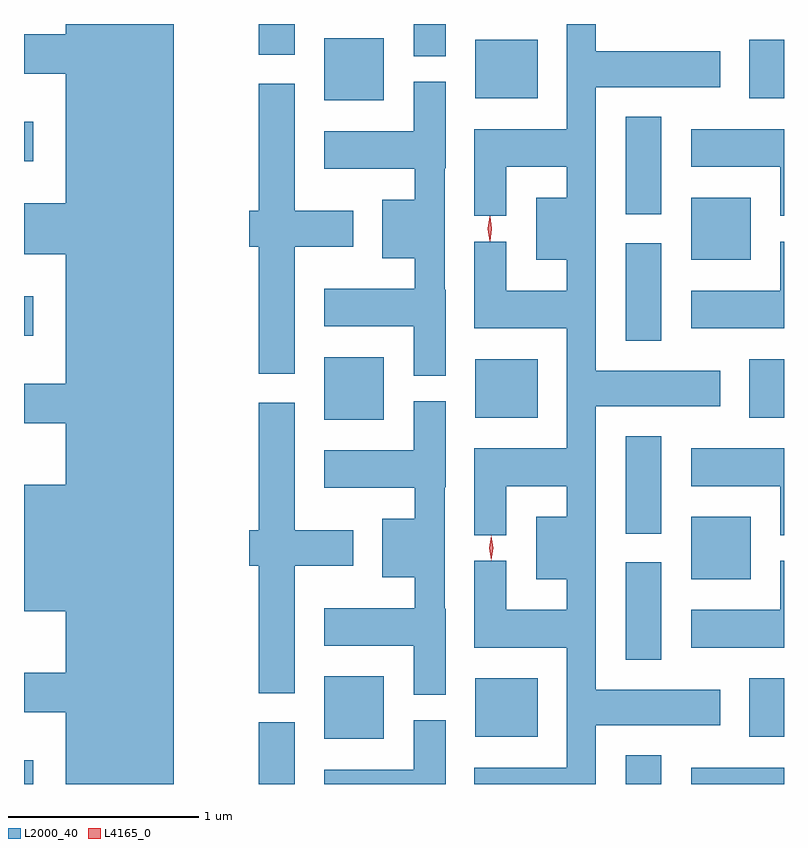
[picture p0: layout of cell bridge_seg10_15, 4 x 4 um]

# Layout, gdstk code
import gdstk
lib = gdstk.Library(unit=1e-6, precision=1e-09)
def R(c, l, rs):  # rectangles x0, y0, x1, y1
    for r in rs: c.add(gdstk.rectangle(r[:2], r[2:], *l))
def A(c, l, x, y, w, h, nx, ny, dx, dy):  # array of equal rectangles
    R(c, l, [(x+i*dx, y+j*dy, x+i*dx+w, y+j*dy+h) for i in range(nx) for j in range(ny)])
def P(c, l, *ps):  # polygons
    for p in ps: c.add(gdstk.Polygon(p, *l))
L2000_40 = (2000, 40)
L4165_0 = (4165, 0)

bridge_seg10_15 = lib.new_cell('bridge_seg10_15')
A(bridge_seg10_15, L2000_40, 1786.791, 2156.406, 0.313, 0.328, 1, 3, 0, 1.68)
A(bridge_seg10_15, L2000_40, 1787.586, 2156.416, 0.328, 0.308, 1, 3, 0, 1.68)
A(bridge_seg10_15, L2000_40, 1789.026, 2156.416, 0.184, 0.308, 1, 3, 0, 1.68)
R(bridge_seg10_15, L2000_40, [(1785.21,2156.168,1785.259,2156.294), (1786.446,2156.168,1786.634,2156.494), (1788.376,2156.168,1788.564,2156.319), (1788.721,2156.168,1789.21,2156.254), (1788.376,2156.821,1788.564,2157.334), (1788.721,2157.246,1789.034,2157.574), (1788.376,2157.486,1788.564,2157.999), (1788.376,2158.501,1788.564,2159.014), (1785.21,2158.526,1785.259,2158.734), (1788.721,2158.926,1789.034,2159.254), (1788.376,2159.166,1788.564,2159.679), (1785.21,2159.446,1785.259,2159.654), (1787.261,2159.998,1787.429,2160.168), (1786.446,2160.006,1786.634,2160.168)])
P(bridge_seg10_15, L2000_40, [(1788.219,2156.476),(1788.874,2156.476),(1788.874,2156.664),(1788.219,2156.664),(1788.219,2158.156),(1788.874,2158.156),(1788.874,2158.344),(1788.219,2158.344),(1788.219,2159.836),(1788.874,2159.836),(1788.874,2160.024),(1788.219,2160.024),(1788.219,2160.168),(1788.066,2160.168),(1788.066,2159.614),(1787.581,2159.614),(1787.581,2159.158),(1787.749,2159.158),(1787.749,2159.416),(1788.066,2159.416),(1788.066,2159.254),(1787.906,2159.254),(1787.906,2158.926),(1788.066,2158.926),(1788.066,2158.764),(1787.749,2158.764),(1787.749,2159.023),(1787.581,2159.023),(1787.581,2158.566),(1788.066,2158.566),(1788.066,2157.934),(1787.581,2157.934),(1787.581,2157.478),(1787.749,2157.478),(1787.749,2157.736),(1788.066,2157.736),(1788.066,2157.574),(1787.906,2157.574),(1787.906,2157.246),(1788.066,2157.246),(1788.066,2157.084),(1787.749,2157.084),(1787.749,2157.343),(1787.581,2157.343),(1787.581,2156.886),(1788.066,2156.886),(1788.066,2156.254),(1787.581,2156.254),(1787.581,2156.168),(1788.219,2156.168)],
  [(1785.999,2160.168),(1785.431,2160.168),(1785.431,2160.114),(1785.21,2160.114),(1785.21,2159.906),(1785.431,2159.906),(1785.431,2159.224),(1785.21,2159.224),(1785.21,2158.956),(1785.431,2158.956),(1785.431,2158.274),(1785.21,2158.274),(1785.21,2158.066),(1785.431,2158.066),(1785.431,2157.744),(1785.21,2157.744),(1785.21,2157.076),(1785.431,2157.076),(1785.431,2156.754),(1785.21,2156.754),(1785.21,2156.546),(1785.431,2156.546),(1785.431,2156.168),(1785.999,2156.168)],
  [(1787.429,2158.77),(1787.424,2158.77),(1787.424,2159.41),(1787.429,2159.41),(1787.429,2159.863),(1787.261,2159.863),(1787.261,2159.604),(1786.791,2159.604),(1786.791,2159.406),(1787.266,2159.406),(1787.266,2159.244),(1787.096,2159.244),(1787.096,2158.936),(1787.266,2158.936),(1787.266,2158.774),(1786.791,2158.774),(1786.791,2158.576),(1787.261,2158.576),(1787.261,2158.318),(1787.429,2158.318)],
  [(1786.634,2158.996),(1786.944,2158.996),(1786.944,2159.184),(1786.634,2159.184),(1786.634,2159.854),(1786.446,2159.854),(1786.446,2159.184),(1786.396,2159.184),(1786.396,2158.996),(1786.446,2158.996),(1786.446,2158.326),(1786.634,2158.326)],
  [(1789.21,2159.614),(1788.721,2159.614),(1788.721,2159.416),(1789.191,2159.416),(1789.191,2159.158),(1789.21,2159.158)],
  [(1789.21,2159.023),(1789.191,2159.023),(1789.191,2158.764),(1788.721,2158.764),(1788.721,2158.566),(1789.21,2158.566)],
  [(1787.429,2157.09),(1787.424,2157.09),(1787.424,2157.73),(1787.429,2157.73),(1787.429,2158.183),(1787.261,2158.183),(1787.261,2157.924),(1786.791,2157.924),(1786.791,2157.726),(1787.266,2157.726),(1787.266,2157.564),(1787.096,2157.564),(1787.096,2157.256),(1787.266,2157.256),(1787.266,2157.094),(1786.791,2157.094),(1786.791,2156.896),(1787.261,2156.896),(1787.261,2156.638),(1787.429,2156.638)],
  [(1786.634,2157.316),(1786.944,2157.316),(1786.944,2157.504),(1786.634,2157.504),(1786.634,2158.174),(1786.446,2158.174),(1786.446,2157.504),(1786.396,2157.504),(1786.396,2157.316),(1786.446,2157.316),(1786.446,2156.646),(1786.634,2156.646)],
  [(1789.21,2157.934),(1788.721,2157.934),(1788.721,2157.736),(1789.191,2157.736),(1789.191,2157.478),(1789.21,2157.478)],
  [(1789.21,2157.343),(1789.191,2157.343),(1789.191,2157.084),(1788.721,2157.084),(1788.721,2156.886),(1789.21,2156.886)],
  [(1787.429,2156.503),(1787.261,2156.503),(1787.261,2156.244),(1786.791,2156.244),(1786.791,2156.168),(1787.429,2156.168)])
P(bridge_seg10_15, L4165_0, [(1787.669,2157.344),(1787.669,2157.345),(1787.659,2157.41),(1787.669,2157.475),(1787.669,2157.476),(1787.67,2157.475),(1787.679,2157.41),(1787.67,2157.345)],
  [(1787.662,2159.024),(1787.662,2159.025),(1787.652,2159.09),(1787.662,2159.155),(1787.662,2159.156),(1787.663,2159.155),(1787.672,2159.09),(1787.663,2159.025)])

lib.write_gds('bridge_seg10_15.gds')
